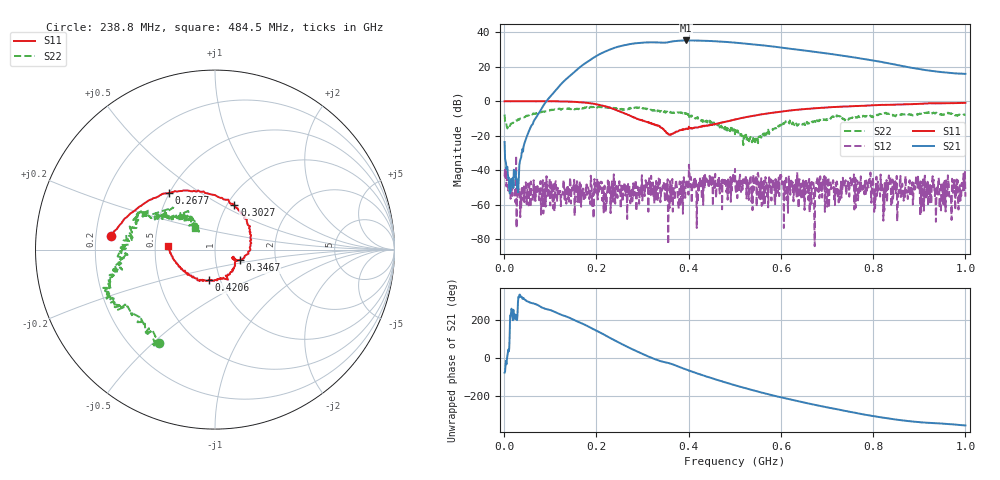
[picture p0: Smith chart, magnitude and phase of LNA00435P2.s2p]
! Created with skrf 1.9.0 (http://scikit-rf.org).
# Hz S RI R 50.0
!freq ReS11 ImS11 ReS21 ImS21 ReS12 ImS12 ReS22 ImS22
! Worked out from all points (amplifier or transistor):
!   1001 points, 1 MHz to 1 GHz, reference 50 ohm
!   highest |S21| = 35.2 dB at 394.6 MHz (marker M1)
!   |S21| within 3 dB of that: 256.5 MHz to 565.8 MHz (309.3 MHz wide, 75.2 % of centre)
!   unconditionally stable (mu >= 1): 4.135 MHz to 57.89 MHz; 237.8 MHz to 400.4 MHz; 401.2 MHz to end of sweep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
!   at 166.8 MHz: K = 4.24, MAG = 31.4 dB, |S12| = -61.1 dB
!   at 500.5 MHz: K = 1.08, MAG = 34.9 dB, |S12| = -39.2 dB
!   at 1 GHz: K = 7.35, MAG = 23.9 dB, |S12| = -55.3 dB
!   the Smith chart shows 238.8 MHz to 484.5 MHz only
!   S11 on the Smith chart (normalised r, x): 238.8 MHz: 0.26, +0.06; 267.7 MHz: 0.50, +0.37; 302.7 MHz: 1.08, +0.58; 346.7 MHz: 1.31, -0.15; 420.6 MHz: 0.88, -0.31; 484.5 MHz: 0.59, +0.02
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1000000  0.9929 0.0166  0.0158 -0.0637  -0.00652 0.00139  0.3053 0.2761
1.08892e8  0.5244 -0.8458  -0.8969 -1.639  0.00049 -0.000412  0.4157 -0.3863
1.67833e8  -0.227 -0.8998  -10.54 -0.2693  0.0026 0.00046  0.0115 -0.6373
2.07793e8  -0.6469 -0.4221  -15.99 16.93  0.000374 -0.00277  -0.224 -0.6303
2.38762e8  -0.5783 0.0747  -1.83 34.93  0.00117 0.000232  -0.3095 -0.518
2.67733e8  -0.2584 0.3143  23.27 37.07  -0.00257 -0.00166  -0.4869 -0.3165
2.83717e8  -0.0744 0.3223  36.52 30.35  -0.00356 0.000114  -0.5947 -0.2658
3.02698e8  0.1077 0.2491  46.95 16.08  -0.00129 0.00338  -0.5969 -0.1728
3.34666e8  0.1974 0.000512  49.13 -11.05  -0.00507 0.00276  -0.5208 -0.00516
3.46654e8  0.1376 -0.0564  46.31 -17.53  -0.00398 0.000378  -0.4784 0.0281
3.7063e8  0.1096 -0.0555  43.86 -33.76  0.00182 0.00222  -0.436 0.1875
3.94606e8  0.0809 -0.1384  28.92 -49.63  -0.00262 0.00464  -0.4022 0.2008
4.2058e8  -0.0359 -0.17  8.045 -56.36  0.00392 0.000544  -0.2603 0.1677
4.49551e8  -0.1632 -0.1278  -13.86 -53.25  0.00294 0.00231  -0.1502 0.185
4.84516e8  -0.261 0.0173  -33.52 -39.5  0.000851 0.00112  -0.1141 0.1199
5.005e8  -0.2796 0.1091  -39.16 -30.89  0.0108 0.0021  -0.0707 0.0846
5.4046e8  -0.2204 0.309  -43.25 -8.951  0.00757 0.00033  -0.0952 0.0185
5.88412e8  -0.0431 0.4765  -35.62 11.71  0.0044 -0.00344  -0.1418 -0.0854
6.67333e8  0.3202 0.5259  -13.39 23.88  0.000262 -0.00459  -0.2532 -0.041
7.53247e8  0.6121 0.3682  3.914 18.58  -0.00298 0.00207  -0.3289 0.0476
8.34166e8  0.7699 0.1527  8.805 8.779  -0.00702 -0.000923  -0.423 0.1102
1e9  0.8133 -0.3781  6.131 0.9505  -0.00072 0.00156  -0.1529 0.3801
